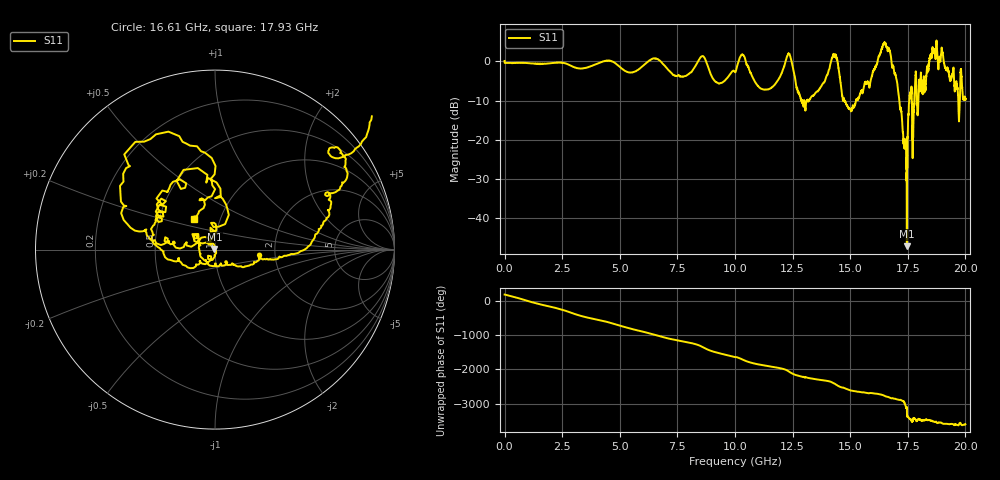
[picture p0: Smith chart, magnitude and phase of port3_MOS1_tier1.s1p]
! Created with skrf 1.8.0 (http://scikit-rf.org).
# GHz S RI R 50.0
!freq ReS11 ImS11
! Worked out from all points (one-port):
!   10001 points, 1 MHz to 20 GHz, reference 50 ohm
!   lowest |S11| = -47.3 dB at 17.46 GHz (marker M1), VSWR 1.01, Z = 49.7 + j0.283 ohm
!   |S11| at or under -10 dB: 14.75 GHz to 15.25 GHz (507.2 MHz wide, 3.38 % of centre); 17.13 GHz to 17.56 GHz (433.1 MHz wide, 2.5 % of centre); 17.67 GHz to 17.78 GHz (108 MHz wide, 0.609 % of centre) (the widest 3 of 14)
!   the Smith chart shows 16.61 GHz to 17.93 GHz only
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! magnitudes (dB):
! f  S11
! 1 MHz  0.1
! 2.501 GHz  -0.3
! 5.001 GHz  -1.4
! 6.555 GHz  0.7
! 7.501 GHz  -3.7
! 8.577 GHz  1.4
! 9.243 GHz  -5.5
! 10 GHz  -2.7
! 10.34 GHz  1.7
! 11.36 GHz  -7.2
! 12.3 GHz  1.8
! 12.5 GHz  -1.2
! 13.04 GHz  -12.0
! 14.34 GHz  1.4
! 14.71 GHz  -9.5
! 15 GHz  -12.2
! 16.51 GHz  4.7
! 16.96 GHz  -3.3
! 17.38 GHz  -22.2
! 17.46 GHz  -47.3
! 17.5 GHz  -18.2
! 17.59 GHz  -8.8
! 18.21 GHz  -7.2
! 18.66 GHz  3.0
! 19.51 GHz  -5.5
! 19.67 GHz  -7.6
! 19.87 GHz  -7.7
! 20 GHz  -9.6
